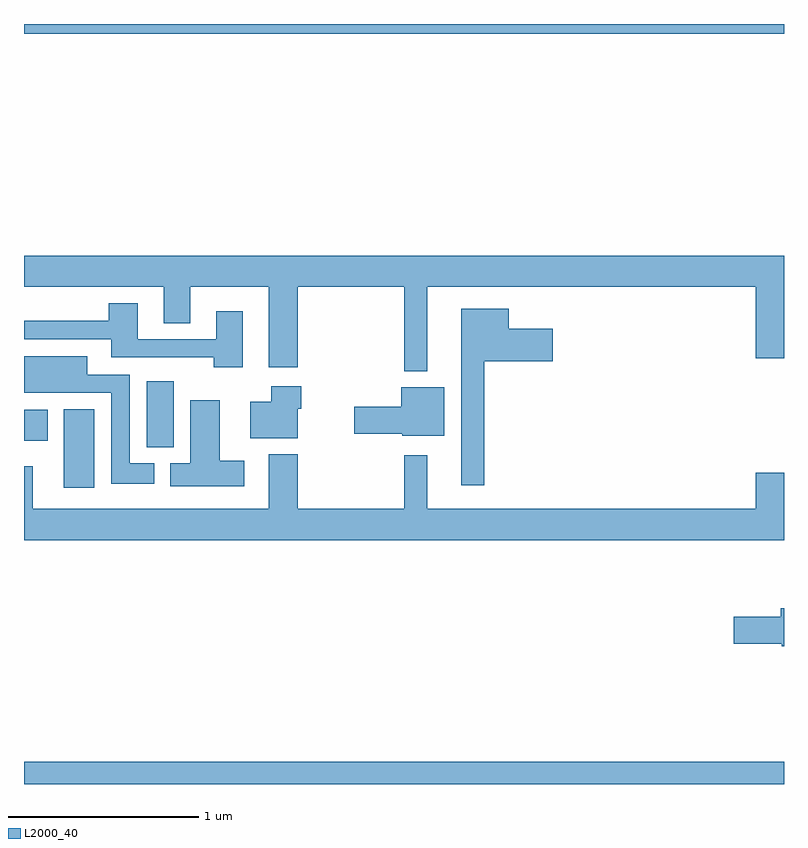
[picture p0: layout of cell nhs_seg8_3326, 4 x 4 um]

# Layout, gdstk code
import gdstk
lib = gdstk.Library(unit=1e-6, precision=1e-09)
def R(c, l, rs):  # rectangles x0, y0, x1, y1
    for r in rs: c.add(gdstk.rectangle(r[:2], r[2:], *l))
def P(c, l, *ps):  # polygons
    for p in ps: c.add(gdstk.Polygon(p, *l))
L2000_40 = (2000, 40)

nhs_seg8_3326 = lib.new_cell('nhs_seg8_3326')
R(nhs_seg8_3326, L2000_40, [(317,1097.9,321,1098.016), (317.21,1099.458,317.371,1099.873), (317.645,1099.673,317.788,1100.02), (317,1099.706,317.125,1099.87), (317,1101.848,321,1101.9)])
P(nhs_seg8_3326, L2000_40, [(319.123,1100.516),(320.852,1100.516),(320.852,1100.142),(321,1100.142),(321,1100.68),(317,1100.68),(317,1100.516),(317.735,1100.516),(317.735,1100.326),(317.875,1100.326),(317.875,1100.516),(318.287,1100.516),(318.287,1100.094),(318.44,1100.094),(318.44,1100.516),(319.002,1100.516),(319.002,1100.072),(319.123,1100.072)],
  [(318.151,1100.389),(318.011,1100.389),(318.011,1100.241),(317.599,1100.241),(317.599,1100.431),(317.447,1100.431),(317.447,1100.338),(317,1100.338),(317,1100.241),(317.459,1100.241),(317.459,1100.145),(317.999,1100.145),(317.999,1100.094),(318.151,1100.094)],
  [(319.423,1100.126),(319.783,1100.126),(319.783,1100.296),(319.552,1100.296),(319.552,1100.401),(319.301,1100.401),(319.301,1099.473),(319.423,1099.473)],
  [(317.685,1099.588),(317.556,1099.588),(317.556,1100.055),(317.332,1100.055),(317.332,1100.152),(317,1100.152),(317,1099.958),(317.214,1099.958),(317.214,1099.959),(317.46,1099.959),(317.46,1099.481),(317.685,1099.481)],
  [(318.442,1099.875),(318.46,1099.875),(318.46,1099.993),(318.302,1099.993),(318.302,1099.912),(318.191,1099.912),(318.191,1099.721),(318.442,1099.721)],
  [(319.213,1099.987),(318.986,1099.987),(318.986,1099.886),(318.738,1099.886),(318.738,1099.744),(318.99,1099.744),(318.99,1099.733),(319.213,1099.733)],
  [(318.16,1099.601),(318.031,1099.601),(318.031,1099.921),(317.876,1099.921),(317.876,1099.588),(317.77,1099.588),(317.77,1099.466),(318.16,1099.466)],
  [(321,1099.537),(320.852,1099.537),(320.852,1099.348),(319.123,1099.348),(319.123,1099.63),(319.002,1099.63),(319.002,1099.348),(318.44,1099.348),(318.44,1099.636),(318.287,1099.636),(318.287,1099.348),(317.047,1099.348),(317.047,1099.573),(317,1099.573),(317,1099.184),(321,1099.184)],
  [(321,1098.826),(320.984,1098.826),(320.984,1098.78),(320.736,1098.78),(320.736,1098.638),(320.988,1098.638),(320.988,1098.625),(321,1098.625)])

lib.write_gds('nhs_seg8_3326.gds')
